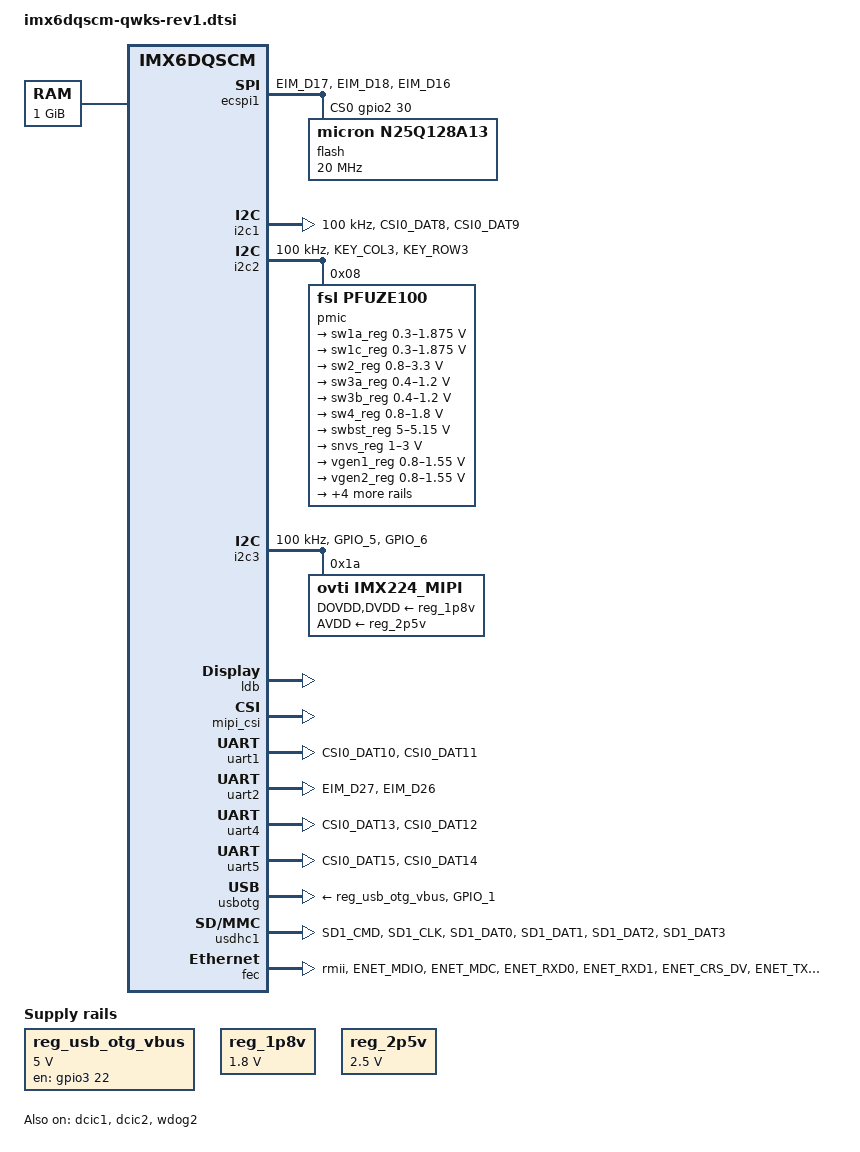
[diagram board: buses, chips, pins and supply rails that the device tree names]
/*
 * Copyright 2012 Freescale Semiconductor, Inc.
 * Copyright 2011 Linaro Ltd.
 *
 * The code contained herein is licensed under the GNU General Public
 * License. You may obtain a copy of the GNU General Public License
 * Version 2 or later at the following locations:
 *
 * http://www.opensource.org/licenses/gpl-license.html
 * http://www.gnu.org/copyleft/gpl.html
 */

#include <dt-bindings/input/input.h>

&iomuxc {
	pinctrl-names = "default";
	pinctrl-0 = <&pinctrl_hog>;

	imx6qdl-sabresd {
		pinctrl_hog: hoggrp {
			fsl,pins = <
				MX6QDL_PAD_NANDF_D0__GPIO2_IO00 0x80000000
				MX6QDL_PAD_NANDF_CS1__GPIO6_IO14 0x80000000
				MX6QDL_PAD_NANDF_CS2__GPIO6_IO15 0x80000000
				MX6QDL_PAD_KEY_COL2__GPIO4_IO10 0x80000000
				MX6QDL_PAD_EIM_EB2__GPIO2_IO30 0x80000000
				MX6QDL_PAD_DISP0_DAT11__GPIO5_IO05 0x1b0b0
				MX6QDL_PAD_DISP0_DAT10__GPIO4_IO31 0x1b0b0
			>;
		};

		pinctrl_ecspi1: ecspi1grp {
			fsl,pins = <
				MX6QDL_PAD_EIM_D17__ECSPI1_MISO 0x100b1
				MX6QDL_PAD_EIM_D18__ECSPI1_MOSI 0x100b1
				MX6QDL_PAD_EIM_D16__ECSPI1_SCLK 0x100b1
			>;
		};

		pinctrl_i2c1: i2c1grp {
			fsl,pins = <
				MX6QDL_PAD_CSI0_DAT8__I2C1_SDA		0x4001b8b1
				MX6QDL_PAD_CSI0_DAT9__I2C1_SCL		0x4001b8b1
			>;
		};

		pinctrl_i2c2: i2c2grp {
			fsl,pins = <
				MX6QDL_PAD_KEY_COL3__I2C2_SCL		0x4001b8b1
				MX6QDL_PAD_KEY_ROW3__I2C2_SDA		0x4001b8b1
			 >;
		};
		
		pinctrl_i2c2_imx224_mipi: i2c2-imx224-mipigrp {
			fsl,pins = <
			MX6QDL_PAD_CSI0_DAT19__GPIO6_IO05	0x0b0b0
			MX6QDL_PAD_GPIO_0__GPIO1_IO00    	0x0b0b0
/*			MX6QDL_PAD_NANDF_D5__GPIO2_IO05		0x000b0	*/		
#define GP_IMX224_MIPI_CAM_SEL1 <&gpio4 26 GPIO_ACTIVE_HIGH>
#define GP_IMX224_MIPI_CAM_SEL2 <&gpio4 27 GPIO_ACTIVE_HIGH>
#define GP_IMX224_MIPI_RESET	<&gpio2 5 GPIO_ACTIVE_LOW>
#define GP_IMX224_I2C_CAM_SEL3	<&gpio5 7 GPIO_ACTIVE_HIGH>
#define GP_IMX224_I2C_CAM_SEL4	<&gpio5 8 GPIO_ACTIVE_HIGH>
#define GP_IMX224_CAM0_LED	<&gpio4 24 GPIO_ACTIVE_HIGH>
#define GP_IMX224_CAM1_LED	<&gpio5 9 GPIO_ACTIVE_HIGH>             
#define GP_IMX224_CAM2_LED	<&gpio5 10 GPIO_ACTIVE_HIGH>
		>;
	};

		pinctrl_i2c3: i2c3grp {
			fsl,pins = <
				MX6QDL_PAD_GPIO_5__I2C3_SCL		0x4001b8b1
				MX6QDL_PAD_GPIO_6__I2C3_SDA		0x4001b8b1
			>;
		};

		pinctrl_uart1: uart1grp {
			fsl,pins = <
				MX6QDL_PAD_CSI0_DAT10__UART1_TX_DATA	0x1b0b1
				MX6QDL_PAD_CSI0_DAT11__UART1_RX_DATA	0x1b0b1
			>;
		};

                pinctrl_uart2: uart2grp {
                        fsl,pins = <
                                MX6QDL_PAD_EIM_D27__UART2_RX_DATA       0x1b0b1
                                MX6QDL_PAD_EIM_D26__UART2_TX_DATA       0x1b0b1
                        >;
                };

                pinctrl_uart4: uart4grp {
                        fsl,pins = <
                                MX6QDL_PAD_CSI0_DAT13__UART4_RX_DATA    0x1b0b1
                                MX6QDL_PAD_CSI0_DAT12__UART4_TX_DATA    0x1b0b1
                        >;
                };

                pinctrl_uart5: uart5grp {
                        fsl,pins = <
                                MX6QDL_PAD_CSI0_DAT15__UART5_RX_DATA    0x1b0b1
                                MX6QDL_PAD_CSI0_DAT14__UART5_TX_DATA    0x1b0b1
                        >;
                };

		pinctrl_usbotg: usbotggrp {
			fsl,pins = <
				MX6QDL_PAD_GPIO_1__USB_OTG_ID		0x17059
			>;
		};

		pinctrl_usdhc1: usdhc1grp {
                        fsl,pins = <
                                MX6QDL_PAD_SD1_CMD__SD1_CMD             0x17059
                                MX6QDL_PAD_SD1_CLK__SD1_CLK             0x10059
                                MX6QDL_PAD_SD1_DAT0__SD1_DATA0          0x17059
                                MX6QDL_PAD_SD1_DAT1__SD1_DATA1          0x17059
                                MX6QDL_PAD_SD1_DAT2__SD1_DATA2          0x17059
                                MX6QDL_PAD_SD1_DAT3__SD1_DATA3          0x17059
                        >;
                };

		pinctrl_usdhc2: usdhc2grp {
			fsl,pins = <
				MX6QDL_PAD_SD2_CMD__SD2_CMD		0x17059
				MX6QDL_PAD_SD2_CLK__SD2_CLK		0x10059
				MX6QDL_PAD_SD2_DAT0__SD2_DATA0		0x17059
				MX6QDL_PAD_SD2_DAT1__SD2_DATA1		0x17059
				MX6QDL_PAD_SD2_DAT2__SD2_DATA2		0x17059
				MX6QDL_PAD_SD2_DAT3__SD2_DATA3		0x17059
			>;
		};

		pinctrl_usdhc3: usdhc3grp {
			fsl,pins = <
				MX6QDL_PAD_SD3_CMD__SD3_CMD		0x17059
				MX6QDL_PAD_SD3_CLK__SD3_CLK		0x10059
				MX6QDL_PAD_SD3_DAT0__SD3_DATA0		0x17059
				MX6QDL_PAD_SD3_DAT1__SD3_DATA1		0x17059
				MX6QDL_PAD_SD3_DAT2__SD3_DATA2		0x17059
				MX6QDL_PAD_SD3_DAT3__SD3_DATA3		0x17059
			>;
		};

		pinctrl_enet_ssm: enetgrp {
			fsl,pins = <
				MX6QDL_PAD_ENET_MDIO__ENET_MDIO         0x1b0a8
				MX6QDL_PAD_ENET_MDC__ENET_MDC           0x1b0a8
				MX6QDL_PAD_ENET_RXD0__ENET_RX_DATA0     0x1b0a8
				MX6QDL_PAD_ENET_RXD1__ENET_RX_DATA1     0x1b0a8
				MX6QDL_PAD_ENET_CRS_DV__ENET_RX_EN      0x1b0a8

				MX6QDL_PAD_ENET_TXD0__ENET_TX_DATA0     0x1b0a8
				MX6QDL_PAD_ENET_TXD1__ENET_TX_DATA1     0x1b0a8
				MX6QDL_PAD_ENET_TX_EN__ENET_TX_EN       0x1b0a8
				MX6QDL_PAD_GPIO_16__ENET_REF_CLK        0x4001b0a1
			>;
		};

		/*pinctrl_gpio_keys: gpio-keysgrp {
                        fsl,pins = <
                                MX6QDL_PAD_ENET_MDC__ENET_MDC           0x1b0b0
                        >;
                };*/
	};
};


/ {
	aliases {
		mxcfb0 = &mxcfb1;
		mxcfb1 = &mxcfb2;
		mxcfb2 = &mxcfb3;
		mxcfb3 = &mxcfb4;
	};

        soc {
            busfreq {
                status = "disabled";
            };
        };
	memory: memory {
		reg = <0x10000000 0x40000000>;
	};

	regulators {
		compatible = "simple-bus";
		#address-cells = <1>;
		#size-cells = <0>;

		reg_usb_otg_vbus: regulator@0 {
			compatible = "regulator-fixed";
			reg = <0>;
			regulator-name = "usb_otg_vbus";
			regulator-min-microvolt = <5000000>;
			regulator-max-microvolt = <5000000>;
			gpio = <&gpio3 22 0>;
			enable-active-high;
		};
		
		reg_1p8v: regulator@1 {
			compatible = "regulator-fixed";
			reg = <1>;
			regulator-name = "1P8V";
			regulator-min-microvolt = <1800000>;
			regulator-max-microvolt = <1800000>;
			regulator-always-on;
		};
		
		reg_2p5v: regulator@2 {
			compatible = "regulator-fixed";
			reg = <2>;
			regulator-name = "2P5V";
			regulator-min-microvolt = <2500000>;
			regulator-max-microvolt = <2500000>;
			regulator-always-on;
		};
	};


	mxcfb1: fb@0 {
		compatible = "fsl,mxc_sdc_fb";
		disp_dev = "ldb";
		interface_pix_fmt = "RGB666";
		default_bpp = <16>;
		int_clk = <0>;
		late_init = <0>;
		status = "disabled";
	};

	mxcfb2: fb@1 {
		compatible = "fsl,mxc_sdc_fb";
		disp_dev = "hdmi";
		interface_pix_fmt = "RGB24";
		mode_str ="1920x1080M@60";
		default_bpp = <24>;
		int_clk = <0>;
		late_init = <0>;
		status = "disabled";
	};

	mxcfb3: fb@2 {
		compatible = "fsl,mxc_sdc_fb";
		disp_dev = "lcd";
		interface_pix_fmt = "RGB565";
		mode_str ="CLAA-WVGA";
		default_bpp = <16>;
		int_clk = <0>;
		late_init = <0>;
		status = "disabled";
	};

	mxcfb4: fb@3 {
		compatible = "fsl,mxc_sdc_fb";
		disp_dev = "ldb";
		interface_pix_fmt = "RGB666";
		default_bpp = <16>;
		int_clk = <0>;
		late_init = <0>;
		status = "disabled";
	};
	/*gpio-keys {
		compatible = "gpio-keys";
		pinctrl-names = "default";
		pinctrl-0 = <&pinctrl_gpio_keys>;

		sd_card_sw {
			label = "SD_CAD_SW";
			gpios = ;
		}

		enet_pwr_en {
			label = "ENET_PWR_EN";
			gpios = ;
		}
		
		irid_5v0_pwr_en {
			label = "IRID_5V0_PWR_EN";
			gpios = ;
		}

		itp_4g_en {
			label = "ITP_4G_EN";
			gpios = ;
		}

		radar_on {
			label = "RADAR_ON";
			gpios = ;
		}

	}*/
	v4l2_cap_0: v4l2_cap_0 {
		compatible = "fsl,imx6q-v4l2-capture";
		ipu_id = <0>;
		csi_id = <0>;
		mclk_source = <0>;
		status = "okay";
	};

	v4l2_cap_1: v4l2_cap_1 {
		compatible = "fsl,imx6q-v4l2-capture";
		ipu_id = <0>;
		csi_id = <1>;
		mipi_camera = <1>;
		mclk_source = <0>;
		status = "okay";
	};
/*
	v4l2_cap_2: v4l2_cap_2 {
		compatible = "fsl,imx6q-v4l2-capture";
		ipu_id = <0>;
		csi_id = <1>;
		mclk_source = <0>;
		status = "okay";
	};

	v4l2_cap_3: v4l2_cap_3 {
		compatible = "fsl,imx6q-v4l2-capture";
		ipu_id = <0>;
		csi_id = <0>;
		mipi_camera = <1>;
		mclk_source = <0>;
		status = "okay";
	};*/
	v4l2_out {
		compatible = "fsl,mxc_v4l2_output";
		status = "okay";
	};
};

&cpu0 {
	arm-supply = <&sw1a_reg>;
	soc-supply = <&sw1c_reg>;
};

&clks {
	fsl,ldb-di0-parent = <&clks IMX6QDL_CLK_PLL2_PFD0_352M>;
	fsl,ldb-di1-parent = <&clks IMX6QDL_CLK_PLL2_PFD0_352M>;
};

&ecspi1 {
        fsl,spi-num-chipselects = <1>;
        cs-gpios = <&gpio2 30 0>;
        pinctrl-names = "default";
        pinctrl-0 = <&pinctrl_ecspi1>;
        status = "okay";
        flash: m25p80@0 {
                #address-cells = <1>;
                #size-cells = <1>;
                compatible = "micron,n25q128a13";
                spi-max-frequency = <20000000>;
                reg = <0>;
        };
};

&i2c1 {
	clock-frequency = <100000>;
	pinctrl-names = "default";
	pinctrl-0 = <&pinctrl_i2c1>;
	status = "okay";
};

&i2c2 {
	clock-frequency = <100000>;
	pinctrl-names = "default";
	pinctrl-0 = <&pinctrl_i2c2>;
	status = "okay";

        pmic: pfuze100@08 {
                compatible = "fsl,pfuze100";
                reg = <0x08>;
                regulators {
                        sw1a_reg: sw1ab {
                                regulator-min-microvolt = <300000>;
                                regulator-max-microvolt = <1875000>;
                                regulator-boot-on;
                                regulator-always-on;
                                regulator-ramp-delay = <6250>;
                        };

                        sw1c_reg: sw1c {
                                regulator-min-microvolt = <300000>;
                                regulator-max-microvolt = <1875000>;
                                regulator-boot-on;
                                regulator-always-on;
                                regulator-ramp-delay = <6250>;
                        };

                        sw2_reg: sw2 {
                                regulator-min-microvolt = <800000>;
                                regulator-max-microvolt = <3300000>;
                                regulator-boot-on;
                                regulator-always-on;
                        };

                        sw3a_reg: sw3a {
                                regulator-min-microvolt = <400000>;
                                regulator-max-microvolt = <1200000>;
                                regulator-boot-on;
                                regulator-always-on;
                        };

                        sw3b_reg: sw3b {
                                regulator-min-microvolt = <400000>;
                                regulator-max-microvolt = <1200000>;
                                regulator-boot-on;
                                regulator-always-on;
                        };

                        sw4_reg: sw4 {
                                regulator-min-microvolt = <800000>;
                                regulator-max-microvolt = <1800000>;
                                regulator-boot-on;
                                regulator-always-on;

                        };

                        swbst_reg: swbst {
                                regulator-min-microvolt = <5000000>;
                                regulator-max-microvolt = <5150000>;
                                regulator-boot-on;
                                regulator-always-on;

                        };

                        snvs_reg: vsnvs {
                                regulator-min-microvolt = <1000000>;
                                regulator-max-microvolt = <3000000>;
                                regulator-boot-on;
                                regulator-always-on;
                        };

                        vref_reg: vrefddr {
                                regulator-boot-on;
                                regulator-always-on;
                        };

                        vgen1_reg: vgen1 {
                                regulator-min-microvolt = <800000>;
                                regulator-max-microvolt = <1550000>;
                                regulator-always-on;
                        };

                        vgen2_reg: vgen2 {
                                regulator-min-microvolt = <800000>;
                                regulator-max-microvolt = <1550000>;
                                regulator-always-on;
                        };

                        vgen3_reg: vgen3 {
                                regulator-min-microvolt = <1800000>;
                                regulator-max-microvolt = <2800000>;
                                regulator-always-on;
                        };

                        vgen4_reg: vgen4 {
                                regulator-min-microvolt = <1800000>;
                                regulator-max-microvolt = <2500000>;
                                regulator-always-on;
                        };

                        vgen5_reg: vgen5 {
                                regulator-min-microvolt = <1800000>;
                                regulator-max-microvolt = <3300000>;
                                regulator-always-on;
                        };

                        vgen6_reg: vgen6 {
                                regulator-min-microvolt = <1800000>;
                                regulator-max-microvolt = <3150000>;
                                regulator-always-on;
                        };
                };
        };
};

&i2c3 {
	clock-frequency = <100000>;
	pinctrl-names = "default";
	pinctrl-0 = <&pinctrl_i2c3>;
	status = "okay"; 

	imx224_mipi: imx224_mipi@1a {
                compatible = "ovti,imx224_mipi";
                reg = <0x1a>;
                pinctrl-names = "default";
                pinctrl-0 = <&pinctrl_i2c2_imx224_mipi>;
                clocks = <&clks 147>;
                clock-names = "csi_mclk";
                DOVDD-supply = <&reg_1p8v>;
                AVDD-supply = <&reg_2p5v>;
                DVDD-supply = <&reg_1p8v>;
                cam_sel1-gpios = GP_IMX224_MIPI_CAM_SEL1;
                cam_sel2-gpios = GP_IMX224_MIPI_CAM_SEL2;
		cam_sel3-gpios = GP_IMX224_I2C_CAM_SEL3;
		cam_sel4-gpios = GP_IMX224_I2C_CAM_SEL4;
		cam0_led-gpios = GP_IMX224_CAM0_LED;
		cam1_led-gpios = GP_IMX224_CAM1_LED;
		cam2_led-gpios = GP_IMX224_CAM2_LED;
                rst-gpios = GP_IMX224_MIPI_RESET;
                cam
		ipu_id = <0>;
                csi_id = <1>;
                mclk = <37125000>;
                mclk_source = <0>;
        };	
};

&dcic1 {
	dcic_id = <0>;
	dcic_mux = "dcic-hdmi";
	status = "okay";
};

&dcic2 {
	dcic_id = <1>;
	dcic_mux = "dcic-lvds0";
	status = "okay";
};

&gpc {
	/* use ldo-bypass, u-boot will check it and configure */
	fsl,ldo-bypass = <1>;
	fsl,wdog-reset = <2>;
};

&ldb {
	status = "okay";

	lvds-channel@0 {
		fsl,data-mapping = "spwg";
		fsl,data-width = <18>;
		primary;
		status = "okay";

		display-timings {
			native-mode = <&timing0>;
			timing0: hsd100pxn1 {
				clock-frequency = <65000000>;
				hactive = <1024>;
				vactive = <768>;
				hback-porch = <220>;
				hfront-porch = <40>;
				vback-porch = <21>;
				vfront-porch = <7>;
				hsync-len = <60>;
				vsync-len = <10>;
			};
		};
	};

	lvds-channel@1 {
		fsl,data-mapping = "spwg";
		fsl,data-width = <18>;
		status = "okay";

		display-timings {
			native-mode = <&timing1>;
			timing1: hsd100pxn1 {
				clock-frequency = <65000000>;
				hactive = <1024>;
				vactive = <768>;
				hback-porch = <220>;
				hfront-porch = <40>;
				vback-porch = <21>;
				vfront-porch = <7>;
				hsync-len = <60>;
				vsync-len = <10>;
			};
		};
	};
};

&mipi_csi {
	lanes = <2>;
	status = "okay";
};

&uart1 {
	pinctrl-names = "default";
	pinctrl-0 = <&pinctrl_uart1>;
	status = "okay";
};

&uart2 {
        pinctrl-names = "default";
        pinctrl-0 = <&pinctrl_uart2>;
        status = "okay";
};

&uart4 {
        pinctrl-names = "default";
        pinctrl-0 = <&pinctrl_uart4>;
        status = "okay";
};

&uart5 {
        pinctrl-names = "default";
        pinctrl-0 = <&pinctrl_uart5>;
        status = "okay";
};


&usbotg {
	vbus-supply = <&reg_usb_otg_vbus>;
	pinctrl-names = "default";
	pinctrl-0 = <&pinctrl_usbotg>;
	disable-over-current;
	srp-disable;
	hnp-disable;
	adp-disable;
	status = "okay";
};


&usdhc1 {
        pinctrl-names = "default";
        pinctrl-0 = <&pinctrl_usdhc1>;
        /*cd-gpios = <&gpio1 2 0>;*/
        status = "okay";
};

&usdhc2 {
        pinctrl-names = "default";
        pinctrl-0 = <&pinctrl_usdhc2>;
        bus-width = <4>;
        cd-gpios = <&gpio1 4 0>;
        wp-gpios = <&gpio1 2 0>;
        no-1-8-v;
        keep-power-in-suspend;
        enable-sdio-wakeup;
        status = "disabled";
};

&usdhc3 {
        pinctrl-names = "default";
        pinctrl-0 = <&pinctrl_usdhc3>;
        bus-width = <4>;
        cd-gpios = <&gpio2 0 0>;
        no-1-8-v;
        keep-power-in-suspend;
        enable-sdio-wakeup;
        status = "disabled";
};

&fec {
	pinctrl-names = "default";
	pinctrl-0 = <&pinctrl_enet_ssm>;
	phy-mode = "rmii";
	status = "okay";
};

&wdog1 {
	status = "disabled";
};

&wdog2 {
	status = "okay";
};
